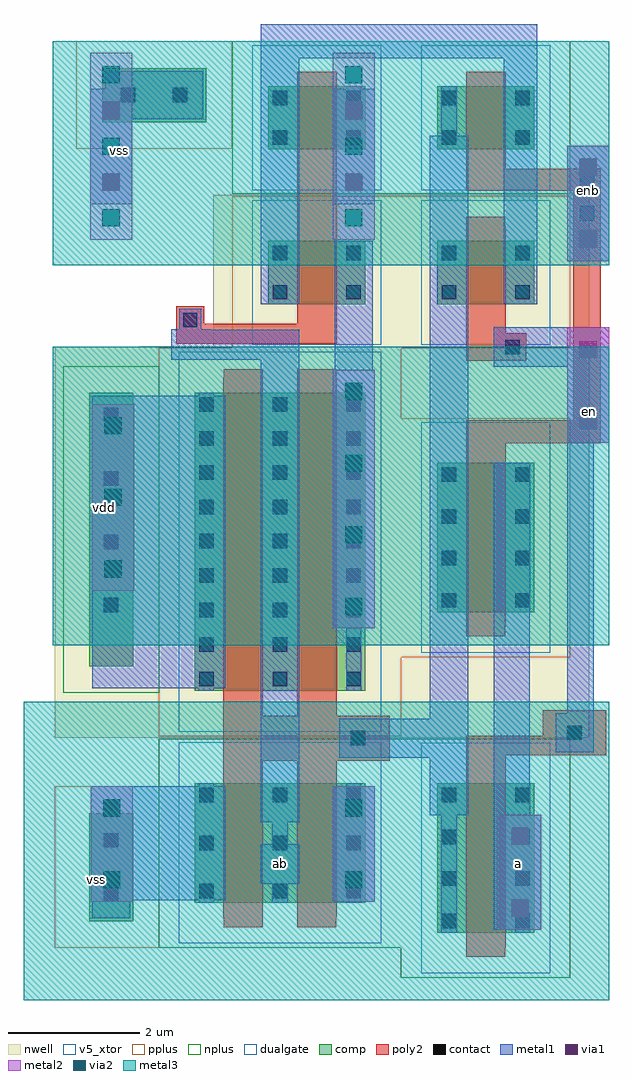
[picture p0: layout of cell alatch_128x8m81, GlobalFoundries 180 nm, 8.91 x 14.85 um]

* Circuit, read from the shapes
.subckt alatch_128x8m81 a ab en enb vdd vss
XM1 ab nmos_5p0431059054878_128x8m81_2/S vss vss nfet_05v0 w=1.82u l=0.6u m=2
XM2 vss ab nmos_5p0431059054878_128x8m81_2/D vss nfet_05v0 w=0.96u l=0.6u
XM3 a en nmos_5p0431059054878_128x8m81_2/S vss nfet_05v0 w=2.27u l=0.6u
XM4 nmos_5p0431059054878_128x8m81_2/D enb nmos_5p0431059054878_128x8m81_2/S vss nfet_05v0 w=0.96u l=0.6u
XM5 ab nmos_5p0431059054878_128x8m81_2/S vdd vdd pfet_05v0 w=4.54u l=0.6u m=2
XM6 vdd ab nmos_5p0431059054878_128x8m81_2/D vdd pfet_05v0 w=0.96u l=0.6u
XM7 a enb nmos_5p0431059054878_128x8m81_2/S vdd pfet_05v0 w=2.27u l=0.6u
XM8 nmos_5p0431059054878_128x8m81_2/D en nmos_5p0431059054878_128x8m81_2/S vdd pfet_05v0 w=0.96u l=0.6u
.ends

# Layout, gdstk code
import gdstk
lib = gdstk.Library(unit=1e-6, precision=1e-09)
def R(c, l, rs):  # rectangles x0, y0, x1, y1
    for r in rs: c.add(gdstk.rectangle(r[:2], r[2:], *l))
def A(c, l, x, y, w, h, nx, ny, dx, dy):  # array of equal rectangles
    R(c, l, [(x+i*dx, y+j*dy, x+i*dx+w, y+j*dy+h) for i in range(nx) for j in range(ny)])
def P(c, l, *ps):  # polygons
    for p in ps: c.add(gdstk.Polygon(p, *l))
nwell = (21, 0)
comp = (22, 0)
poly2 = (30, 0)
pplus = (31, 0)
nplus = (32, 0)
contact = (33, 0)
metal1 = (34, 0)
via1 = (35, 0)
metal2 = (36, 0)
via2 = (38, 0)
metal3 = (42, 0)
dualgate = (55, 0)
v5_xtor = (112, 1)

m1_poly24310590548732_12 = lib.new_cell('M1_POLY24310590548732_128x8m81')
R(m1_poly24310590548732_12, poly2, [(-0.21,-0.21,0.21,0.21)])
R(m1_poly24310590548732_12, contact, [(-0.11,-0.11,0.11,0.11)])
R(m1_poly24310590548732_12, metal1, [(-0.17,-0.17,0.17,0.17)])

nmos_5p0431059054878_128 = lib.new_cell('nmos_5p0431059054878_128x8m81')
R(nmos_5p0431059054878_128, comp, [(-0.44,0,1.04,0.96), (-0.44,0,-0.08,0.96), (0.68,0,1.04,0.96)])
R(nmos_5p0431059054878_128, poly2, [(0,-0.22,0.6,1.18), (0,0.96,0.6,1.18)])
R(nmos_5p0431059054878_128, nplus, [(-0.6,-0.23,1.2,1.19)])
R(nmos_5p0431059054878_128, contact, [(-0.37,0.07,-0.15,0.29), (0.75,0.07,0.97,0.29), (-0.37,0.67,-0.15,0.89), (0.75,0.67,0.97,0.89)])
R(nmos_5p0431059054878_128, metal1, [(-0.375,0,-0.145,0.96), (-0.375,0,-0.145,0.96), (0.745,0,0.975,0.96), (0.745,0,0.975,0.96)])
R(nmos_5p0431059054878_128, dualgate, [(-0.68,-0.62,1.28,1.58)])
R(nmos_5p0431059054878_128, v5_xtor, [(-0.68,-0.62,1.28,1.58)])
nmos_5p0431059054878_128.add(gdstk.Label('S', (-0.26,0.48), layer=34, texttype=0))
nmos_5p0431059054878_128.add(gdstk.Label('D', (0.86,0.48), layer=34, texttype=0))

m2_m1__43379756_153_128x = lib.new_cell('M2_M1$$43379756_153_128x8m81')
R(m2_m1__43379756_153_128x, metal1, [(-0.32,-1.965,0.32,1.965)])
A(m2_m1__43379756_153_128x, via1, -0.13, -1.765, 0.26, 0.26, 1, 4, 0, 1.09)
R(m2_m1__43379756_153_128x, metal2, [(-0.32,-1.965,0.32,1.965)])

pmos_5p04310590548762_12 = lib.new_cell('pmos_5p04310590548762_128x8m81')
R(pmos_5p04310590548762_12, nwell, [(-1.04,-0.6,2.76,5.14)])
A(pmos_5p04310590548762_12, comp, -0.44, 0, 0.36, 4.54, 3, 1, 1.12, 0)
R(pmos_5p04310590548762_12, comp, [(-0.44,0,2.16,4.54)])
R(pmos_5p04310590548762_12, poly2, [(0,-0.22,0.6,4.76), (1.12,-0.22,1.72,4.76), (0,4.54,0.6,4.76), (1.12,4.54,1.72,4.76)])
R(pmos_5p04310590548762_12, pplus, [(-0.6,-0.23,2.32,4.77)])
A(pmos_5p04310590548762_12, contact, -0.37, 0.07, 0.22, 0.22, 3, 5, 1.12, 0.525)
A(pmos_5p04310590548762_12, contact, -0.37, 2.69, 0.22, 0.22, 3, 4, 1.12, 0.52)
R(pmos_5p04310590548762_12, metal1, [(-0.375,0,-0.145,4.54), (-0.375,0,-0.145,4.54), (0.745,0,0.975,4.54), (0.745,0,0.975,4.54), (1.865,0,2.095,4.54), (1.865,0,2.095,4.54)])
R(pmos_5p04310590548762_12, dualgate, [(-0.68,-0.62,2.4,5.16)])
R(pmos_5p04310590548762_12, v5_xtor, [(-0.68,-0.62,2.4,5.16)])
pmos_5p04310590548762_12.add(gdstk.Label('S', (-0.26,2.27), layer=34, texttype=0))
pmos_5p04310590548762_12.add(gdstk.Label('S', (1.98,2.27), layer=34, texttype=0))
pmos_5p04310590548762_12.add(gdstk.Label('D', (0.86,2.27), layer=34, texttype=0))

pmos_1p2__47331372_128x8 = lib.new_cell('pmos_1p2$$47331372_128x8m81')
R(pmos_1p2__47331372_128x8, nwell, [(-1.43,-0.71,2.84,5.24)])
R(pmos_1p2__47331372_128x8, poly2, [(-0.15,-0.37,0.44,-0.005), (0.97,-0.37,1.56,-0.005), (-0.15,4.535,0.44,4.895), (0.97,4.535,1.56,4.895)])
R(pmos_1p2__47331372_128x8, pplus, [(-1.14,-0.685,2.55,5.22)])
pmos_1p2__47331372_128x8.add(gdstk.Reference(pmos_5p04310590548762_12, (-0.155,0)))

m2_m1__43375660_154_128x = lib.new_cell('M2_M1$$43375660_154_128x8m81')
R(m2_m1__43375660_154_128x, metal1, [(-0.315,-0.88,0.32,0.875)])
R(m2_m1__43375660_154_128x, via1, [(-0.13,-0.675,0.13,-0.415), (-0.13,0.415,0.13,0.675)])
R(m2_m1__43375660_154_128x, metal2, [(-0.315,-0.88,0.32,0.875)])

m3_m2__47108140_149_128x = lib.new_cell('M3_M2$$47108140_149_128x8m81')
R(m3_m2__47108140_149_128x, metal2, [(-0.315,-1.42,0.32,1.42)])
A(m3_m2__47108140_149_128x, via2, -0.13, -1.22, 0.26, 0.26, 1, 3, 0, 1.09)
R(m3_m2__47108140_149_128x, metal3, [(-0.325,-1.42,0.325,1.42)])

m3_m2__43368492_151_128x = lib.new_cell('M3_M2$$43368492_151_128x8m81')
R(m3_m2__43368492_151_128x, metal2, [(-0.32,-0.88,0.32,0.875)])
R(m3_m2__43368492_151_128x, via2, [(-0.13,-0.675,0.13,-0.415), (-0.13,0.415,0.13,0.675)])
R(m3_m2__43368492_151_128x, metal3, [(-0.325,-0.88,0.325,0.88)])

m1_psub__45110316_128x8m = lib.new_cell('M1_PSUB$$45110316_128x8m81')
R(m1_psub__45110316_128x8m, comp, [(-0.79,-0.415,0.795,0.41)])
R(m1_psub__45110316_128x8m, pplus, [(-1.185,-0.82,1.19,0.82)])
R(m1_psub__45110316_128x8m, contact, [(-0.505,-0.11,-0.285,0.11), (0.285,-0.11,0.505,0.11)])
P(m1_psub__45110316_128x8m, metal1, [(-0.75,-0.37),(-0.75,0.095),(-0.745,0.095),(-0.745,0.365),(0.75,0.365),(0.75,-0.37)])

m3_m2__47333420_150_128x = lib.new_cell('M3_M2$$47333420_150_128x8m81')
R(m3_m2__47333420_150_128x, metal2, [(-0.32,-1.965,0.32,1.965)])
A(m3_m2__47333420_150_128x, via2, -0.13, -1.765, 0.26, 0.26, 1, 4, 0, 1.09)
R(m3_m2__47333420_150_128x, metal3, [(-0.325,-1.965,0.325,1.965)])

m1_poly2__44753964_155_1 = lib.new_cell('M1_POLY2$$44753964_155_128x8m81')
R(m1_poly2__44753964_155_1, poly2, [(-0.48,-0.345,0.485,0.34)])
R(m1_poly2__44753964_155_1, contact, [(-0.11,-0.11,0.11,0.11)])
R(m1_poly2__44753964_155_1, metal1, [(-0.285,-0.3,0.29,0.295)])

pmos_5p04310590548714_12 = lib.new_cell('pmos_5p04310590548714_128x8m81')
R(pmos_5p04310590548714_12, nwell, [(-1.04,-0.6,1.64,2.87)])
R(pmos_5p04310590548714_12, comp, [(-0.44,0,1.04,2.27), (-0.44,0,-0.08,2.27), (0.68,0,1.04,2.27)])
R(pmos_5p04310590548714_12, poly2, [(0,-0.22,0.6,2.49), (0,2.27,0.6,2.49)])
R(pmos_5p04310590548714_12, pplus, [(-0.6,-0.23,1.2,2.5)])
A(pmos_5p04310590548714_12, contact, -0.37, 0.71, 0.22, 0.22, 1, 3, 0, 0.635)
A(pmos_5p04310590548714_12, contact, 0.75, 0.71, 0.22, 0.22, 1, 3, 0, 0.635)
R(pmos_5p04310590548714_12, contact, [(-0.37,0.07,-0.15,0.29), (0.75,0.07,0.97,0.29)])
R(pmos_5p04310590548714_12, metal1, [(-0.375,0,-0.145,2.27), (-0.375,0,-0.145,2.27), (0.745,0,0.975,2.27), (0.745,0,0.975,2.27)])
R(pmos_5p04310590548714_12, dualgate, [(-0.68,-0.62,1.28,2.89)])
R(pmos_5p04310590548714_12, v5_xtor, [(-0.68,-0.62,1.28,2.89)])
pmos_5p04310590548714_12.add(gdstk.Label('S', (-0.26,1.135), layer=34, texttype=0))
pmos_5p04310590548714_12.add(gdstk.Label('D', (0.86,1.135), layer=34, texttype=0))

pmos_1p2__46285868_160_1 = lib.new_cell('pmos_1p2$$46285868_160_128x8m81')
R(pmos_1p2__46285868_160_1, nwell, [(-1.43,-0.71,1.72,2.975)])
R(pmos_1p2__46285868_160_1, poly2, [(-0.155,-0.37,0.44,-0.005), (-0.155,2.27,0.44,2.635)])
R(pmos_1p2__46285868_160_1, pplus, [(-1.145,-0.685,1.43,2.95)])
pmos_1p2__46285868_160_1.add(gdstk.Reference(pmos_5p04310590548714_12, (-0.155,0)))

nmos_5p04310590548710_12 = lib.new_cell('nmos_5p04310590548710_128x8m81')
R(nmos_5p04310590548710_12, comp, [(-0.44,0,1.04,2.27), (-0.44,0,-0.08,2.27), (0.68,0,1.04,2.27)])
R(nmos_5p04310590548710_12, poly2, [(0,-0.22,0.6,2.49), (0,2.27,0.6,2.49)])
R(nmos_5p04310590548710_12, nplus, [(-0.6,-0.23,1.2,2.5)])
A(nmos_5p04310590548710_12, contact, -0.37, 0.71, 0.22, 0.22, 1, 3, 0, 0.635)
A(nmos_5p04310590548710_12, contact, 0.75, 0.71, 0.22, 0.22, 1, 3, 0, 0.635)
R(nmos_5p04310590548710_12, contact, [(-0.37,0.07,-0.15,0.29), (0.75,0.07,0.97,0.29)])
R(nmos_5p04310590548710_12, metal1, [(-0.375,0,-0.145,2.27), (-0.375,0,-0.145,2.27), (0.745,0,0.975,2.27), (0.745,0,0.975,2.27)])
R(nmos_5p04310590548710_12, dualgate, [(-0.68,-0.62,1.28,2.89)])
R(nmos_5p04310590548710_12, v5_xtor, [(-0.68,-0.62,1.28,2.89)])
nmos_5p04310590548710_12.add(gdstk.Label('S', (-0.26,1.135), layer=34, texttype=0))
nmos_5p04310590548710_12.add(gdstk.Label('D', (0.86,1.135), layer=34, texttype=0))

nmos_1p2__46551084_157_1 = lib.new_cell('nmos_1p2$$46551084_157_128x8m81')
R(nmos_1p2__46551084_157_1, poly2, [(-0.155,-0.37,0.44,-0.005), (-0.155,2.27,0.44,2.635)])
R(nmos_1p2__46551084_157_1, nplus, [(-1.145,-0.685,1.43,2.95)])
nmos_1p2__46551084_157_1.add(gdstk.Reference(nmos_5p04310590548710_12, (-0.155,0)))

pmos_5p04310590548741_12 = lib.new_cell('pmos_5p04310590548741_128x8m81')
R(pmos_5p04310590548741_12, nwell, [(-1.04,-0.6,1.64,1.56)])
R(pmos_5p04310590548741_12, comp, [(-0.44,0,1.04,0.96), (-0.44,0,-0.08,0.96), (0.68,0,1.04,0.96)])
R(pmos_5p04310590548741_12, poly2, [(0,-0.22,0.6,1.18), (0,0.96,0.6,1.18)])
R(pmos_5p04310590548741_12, pplus, [(-0.6,-0.23,1.2,1.19)])
R(pmos_5p04310590548741_12, contact, [(-0.37,0.07,-0.15,0.29), (0.75,0.07,0.97,0.29), (-0.37,0.67,-0.15,0.89), (0.75,0.67,0.97,0.89)])
R(pmos_5p04310590548741_12, metal1, [(-0.375,0,-0.145,0.96), (-0.375,0,-0.145,0.96), (0.745,0,0.975,0.96), (0.745,0,0.975,0.96)])
R(pmos_5p04310590548741_12, dualgate, [(-0.68,-0.62,1.28,1.58)])
R(pmos_5p04310590548741_12, v5_xtor, [(-0.68,-0.62,1.28,1.58)])
pmos_5p04310590548741_12.add(gdstk.Label('S', (-0.26,0.48), layer=34, texttype=0))
pmos_5p04310590548741_12.add(gdstk.Label('D', (0.86,0.48), layer=34, texttype=0))

pmos_1p2__47330348_161_1 = lib.new_cell('pmos_1p2$$47330348_161_128x8m81')
R(pmos_1p2__47330348_161_1, nwell, [(-1.43,-0.705,1.72,1.61)])
R(pmos_1p2__47330348_161_1, poly2, [(-0.15,-0.365,0.44,0), (-0.155,0.955,0.44,1.11)])
R(pmos_1p2__47330348_161_1, pplus, [(-1.145,-0.68,1.43,1.63)])
pmos_1p2__47330348_161_1.add(gdstk.Reference(pmos_5p04310590548741_12, (-0.155,0)))

nmos_5p04310590548763_12 = lib.new_cell('nmos_5p04310590548763_128x8m81')
A(nmos_5p04310590548763_12, comp, -0.44, 0, 0.36, 1.82, 3, 1, 1.12, 0)
R(nmos_5p04310590548763_12, comp, [(-0.44,0,2.16,1.82)])
R(nmos_5p04310590548763_12, poly2, [(0,-0.22,0.6,2.04), (1.12,-0.22,1.72,2.04), (0,1.82,0.6,2.04), (1.12,1.82,1.72,2.04)])
R(nmos_5p04310590548763_12, nplus, [(-0.6,-0.23,2.32,2.05)])
A(nmos_5p04310590548763_12, contact, -0.37, 0.07, 0.22, 0.22, 3, 3, 1.12, 0.73)
R(nmos_5p04310590548763_12, metal1, [(-0.375,0,-0.145,1.82), (-0.375,0,-0.145,1.82), (0.745,0,0.975,1.82), (0.745,0,0.975,1.82), (1.865,0,2.095,1.82), (1.865,0,2.095,1.82)])
R(nmos_5p04310590548763_12, dualgate, [(-0.68,-0.62,2.4,2.44)])
R(nmos_5p04310590548763_12, v5_xtor, [(-0.68,-0.62,2.4,2.44)])
nmos_5p04310590548763_12.add(gdstk.Label('S', (-0.26,0.91), layer=34, texttype=0))
nmos_5p04310590548763_12.add(gdstk.Label('S', (1.98,0.91), layer=34, texttype=0))
nmos_5p04310590548763_12.add(gdstk.Label('D', (0.86,0.91), layer=34, texttype=0))

nmos_1p2__47329324_128x8 = lib.new_cell('nmos_1p2$$47329324_128x8m81')
R(nmos_1p2__47329324_128x8, poly2, [(-0.15,-0.37,0.44,-0.005), (0.97,-0.37,1.56,-0.005), (-0.15,1.815,0.44,2.18), (0.965,1.815,1.56,2.155)])
R(nmos_1p2__47329324_128x8, nplus, [(-1.14,-0.685,2.55,2.495)])
nmos_1p2__47329324_128x8.add(gdstk.Reference(nmos_5p04310590548763_12, (-0.155,0)))

m2_m1__43380780_152_128x = lib.new_cell('M2_M1$$43380780_152_128x8m81')
R(m2_m1__43380780_152_128x, metal1, [(-0.315,-1.42,0.325,1.42)])
A(m2_m1__43380780_152_128x, via1, -0.13, -1.22, 0.26, 0.26, 1, 3, 0, 1.09)
R(m2_m1__43380780_152_128x, metal2, [(-0.315,-1.42,0.325,1.42)])

m1_poly24310590548739_12 = lib.new_cell('M1_POLY24310590548739_128x8m81')
R(m1_poly24310590548739_12, poly2, [(-0.21,-0.445,0.21,0.445)])
R(m1_poly24310590548739_12, contact, [(-0.11,-0.345,0.11,-0.125), (-0.11,0.125,0.11,0.345)])
R(m1_poly24310590548739_12, metal1, [(-0.17,-0.405,0.17,0.405)])

alatch_128x8m81 = lib.new_cell('alatch_128x8m81')
R(alatch_128x8m81, nwell, [(0.02,3.985,1.795,9.93)])
P(alatch_128x8m81, nwell, [(2.435,3.985),(2.435,9.93),(2.44,9.93),(2.44,12.245),(8.15,12.245),(8.15,3.985)])
R(alatch_128x8m81, comp, [(0.55,1.195,1.215,2.835), (0.55,5.075,1.215,9.23)])
R(alatch_128x8m81, poly2, [(6.28,9.72,6.88,10.435), (3.71,11.695,4.31,12.79)])
P(alatch_128x8m81, poly2, [(1.875,9.98),(1.875,10.28),(3.71,10.28),(3.71,10.635),(4.31,10.635),(4.31,9.98)],
  [(2.59,3.44),(2.59,4.54),(3.19,4.54),(3.19,4.32),(3.71,4.32),(3.71,4.54),(4.31,4.54),(4.31,4.32),(5.12,4.32),(5.12,3.635),(4.31,3.635),(4.31,3.44),(3.71,3.44),(3.71,3.635),(3.19,3.635),(3.19,3.44)],
  [(6.28,3.28),(6.28,4.015),(7.445,4.015),(7.445,4.02),(7.93,4.02),(7.93,3.715),(6.88,3.715),(6.88,3.28)],
  [(6.28,8.315),(6.28,8.81),(7.91,8.81),(7.91,12.305),(6.28,12.305),(6.28,12.94),(6.88,12.94),(6.88,12.635),(8.33,12.635),(8.33,8.465),(6.88,8.465),(6.88,8.315)])
R(alatch_128x8m81, pplus, [(0.02,0.79,1.61,3.245)])
R(alatch_128x8m81, nplus, [(0.155,4.665,1.61,9.635), (2.725,12.26,5.295,14.58), (5.295,12.26,7.865,14.58)])
A(alatch_128x8m81, contact, 0.77, 6.85, 0.22, 0.22, 1, 3, 0, 0.965)
R(alatch_128x8m81, contact, [(0.77,1.5,0.99,1.72), (0.77,2.315,0.99,2.535), (0.77,5.89,0.99,6.11)])
R(alatch_128x8m81, metal1, [(3.16,1.765,3.74,2.365), (0.595,4.735,2.62,9.185), (7.845,12.01,8.425,12.61)])
P(alatch_128x8m81, metal1, [(5.73,2.805),(5.73,3.675),(5.725,3.675),(5.725,3.68),(4.35,3.68),(4.35,4.275),(5.73,4.275),(5.73,13.14),(6.31,13.14),(6.31,2.805)],
  [(4.275,8.77),(4.275,9.58),(4.28,9.58),(4.28,11.54),(4.86,11.54),(4.86,8.77)],
  [(7.815,3.76),(7.815,4.355),(7.82,4.355),(7.82,9.63),(6.7,9.63),(6.7,10.225),(8.22,10.225),(8.22,9.245),(8.45,9.245),(8.45,8.645),(8.22,8.645),(8.22,3.76)],
  [(3.16,2.695),(3.16,9.73),(1.795,9.73),(1.795,10.195),(2.4,10.195),(2.4,10.19),(3.74,10.19),(3.74,2.695)],
  [(6.7,1.06),(6.7,8.165),(7.25,8.165),(7.25,2.365),(7.375,2.365),(7.375,1.765),(7.25,1.765),(7.25,1.06)],
  [(0.595,1.24),(0.595,1.49),(0.59,1.49),(0.59,3.245),(2.62,3.245),(2.62,1.515),(1.17,1.515),(1.17,1.24)],
  [(3.16,10.58),(3.16,14.84),(7.36,14.84),(7.36,10.58),(6.85,10.58),(6.85,14.32),(3.74,14.32),(3.74,10.58)])
R(alatch_128x8m81, metal3, [(-0.45,-0.005,8.46,4.535), (-0.005,5.39,8.46,9.93), (-0.005,11.17,8.46,14.58)])
alatch_128x8m81.add(gdstk.Reference(m1_poly24310590548732_12, (2.085,10.34)))
alatch_128x8m81.add(gdstk.Reference(m1_poly24310590548732_12, (6.985,9.93)))
alatch_128x8m81.add(gdstk.Reference(nmos_5p0431059054878_128, (6.28,13.895), x_reflection=True))
alatch_128x8m81.add(gdstk.Reference(nmos_5p0431059054878_128, (3.71,13.895), x_reflection=True))
alatch_128x8m81.add(gdstk.Reference(m2_m1__43379756_153_128x, (4.57,7.615)))
alatch_128x8m81.add(gdstk.Reference(pmos_1p2__47331372_128x8, (2.745,4.695)))
alatch_128x8m81.add(gdstk.Reference(m2_m1__43375660_154_128x, (4.57,2.37)))
alatch_128x8m81.add(gdstk.Reference(m2_m1__43375660_154_128x, (0.88,12.98)))
alatch_128x8m81.add(gdstk.Reference(m2_m1__43375660_154_128x, (4.57,12.98)))
alatch_128x8m81.add(gdstk.Reference(m2_m1__43375660_154_128x, (0.89,2.37)))
alatch_128x8m81.add(gdstk.Reference(m2_m1__43375660_154_128x, (7.105,1.94)))
alatch_128x8m81.add(gdstk.Reference(m2_m1__43375660_154_128x, (8.135,9.35)))
alatch_128x8m81.add(gdstk.Reference(m2_m1__43375660_154_128x, (8.135,12.115)))
alatch_128x8m81.add(gdstk.Reference(m3_m2__47108140_149_128x, (4.57,12.98)))
alatch_128x8m81.add(gdstk.Reference(m3_m2__47108140_149_128x, (0.88,12.98)))
alatch_128x8m81.add(gdstk.Reference(m3_m2__47108140_149_128x, (0.91,7.64)))
alatch_128x8m81.add(gdstk.Reference(m3_m2__43368492_151_128x, (0.89,2.37)))
alatch_128x8m81.add(gdstk.Reference(m3_m2__43368492_151_128x, (4.57,2.37)))
alatch_128x8m81.add(gdstk.Reference(m1_psub__45110316_128x8m, (1.535,13.76)))
alatch_128x8m81.add(gdstk.Reference(m3_m2__47333420_150_128x, (4.57,7.615)))
alatch_128x8m81.add(gdstk.Reference(m1_poly2__44753964_155_1, (7.93,4.06)))
alatch_128x8m81.add(gdstk.Reference(m1_poly2__44753964_155_1, (4.635,3.98)))
alatch_128x8m81.add(gdstk.Reference(pmos_1p2__46285868_160_1, (6.435,5.895)))
alatch_128x8m81.add(gdstk.Reference(nmos_1p2__46551084_157_1, (6.435,1.02)))
alatch_128x8m81.add(gdstk.Reference(pmos_1p2__47330348_161_1, (3.865,11.54), x_reflection=True))
alatch_128x8m81.add(gdstk.Reference(pmos_1p2__47330348_161_1, (6.435,11.54), x_reflection=True))
alatch_128x8m81.add(gdstk.Reference(nmos_1p2__47329324_128x8, (2.745,1.475)))
alatch_128x8m81.add(gdstk.Reference(m2_m1__43380780_152_128x, (0.91,7.64)))
alatch_128x8m81.add(gdstk.Reference(m1_poly24310590548739_12, (8.12,12.195)))
alatch_128x8m81.add(gdstk.Label('vss', (1.01,12.92), layer=42, texttype=10))
alatch_128x8m81.add(gdstk.Label('vss', (0.66,1.835), layer=42, texttype=10))
alatch_128x8m81.add(gdstk.Label('vdd', (0.78,7.49), layer=42, texttype=10))
alatch_128x8m81.add(gdstk.Label('enb', (8.135,12.31), layer=34, texttype=10))
alatch_128x8m81.add(gdstk.Label('en', (8.16,8.945), layer=34, texttype=10))
alatch_128x8m81.add(gdstk.Label('ab', (3.45,2.065), layer=34, texttype=10))
alatch_128x8m81.add(gdstk.Label('a', (7.08,2.065), layer=34, texttype=10))

lib.write_gds('alatch_128x8m81.gds')
